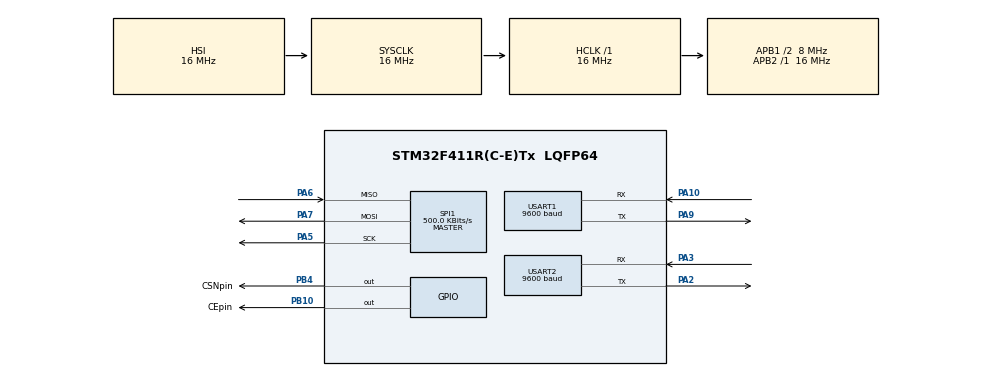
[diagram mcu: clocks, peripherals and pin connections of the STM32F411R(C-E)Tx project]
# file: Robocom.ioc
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FREERTOS.BinarySemaphores01=BinarySem,Dynamic,NULL
FREERTOS.Tasks01=taskUartPc,0,128,StartUartPc,Default,NULL,Dynamic,NULL,NULL
FREERTOS.configUSE_NEWLIB_REENTRANT=1
Mcu.Family=STM32F4
Mcu.Name=STM32F411R(C-E)Tx
Mcu.Package=LQFP64
NVIC.PriorityGroup=NVIC_PRIORITYGROUP_4
NVIC.TIM5_IRQn=true\:15\:0\:false\:false\:true\:false\:false\:true
NVIC.TimeBase=TIM5_IRQn
NVIC.TimeBaseIP=TIM5
NVIC.USART1_IRQn=true\:5\:0\:false\:false\:true\:true\:true\:true
NVIC.USART2_IRQn=true\:5\:0\:false\:false\:true\:true\:true\:true
PA10.Mode=Asynchronous
PA10.Signal=USART1_RX
PA13.Mode=Serial_Wire
PA13.Signal=SYS_JTMS-SWDIO
PA14.Mode=Serial_Wire
PA14.Signal=SYS_JTCK-SWCLK
PA2.Mode=Asynchronous
PA2.Signal=USART2_TX
PA3.Mode=Asynchronous
PA3.Signal=USART2_RX
PA5.Mode=Full_Duplex_Master
PA5.Signal=SPI1_SCK
PA6.Mode=Full_Duplex_Master
PA6.Signal=SPI1_MISO
PA7.Mode=Full_Duplex_Master
PA7.Signal=SPI1_MOSI
PA9.Mode=Asynchronous
PA9.Signal=USART1_TX
PB10.GPIO_Label=CEpin
PB10.Signal=GPIO_Output
PB4.GPIO_Label=CSNpin
PB4.Signal=GPIO_Output
ProjectManager.HeapSize=0x200
ProjectManager.StackSize=0x400
ProjectManager.TargetToolchain=STM32CubeIDE
RCC.48MHZClocksFreq_Value=42000000
RCC.AHBFreq_Value=16000000
RCC.APB1CLKDivider=RCC_HCLK_DIV2
RCC.APB1Freq_Value=8000000
RCC.APB1TimFreq_Value=16000000
RCC.APB2Freq_Value=16000000
RCC.APB2TimFreq_Value=16000000
RCC.CortexFreq_Value=16000000
RCC.HCLKFreq_Value=16000000
RCC.HSE_VALUE=25000000
RCC.HSI_VALUE=16000000
RCC.LSE_VALUE=32768
RCC.PLLM=8
RCC.PLLN=84
RCC.SYSCLKFreq_VALUE=16000000
RCC.VCOOutputFreq_Value=168000000
SPI1.BaudRatePrescaler=SPI_BAUDRATEPRESCALER_32
SPI1.CalculateBaudRate=500.0 KBits/s
SPI1.Direction=SPI_DIRECTION_2LINES
SPI1.Mode=SPI_MODE_MASTER
SPI1.VirtualType=VM_MASTER
USART1.BaudRate=9600
USART1.VirtualMode=VM_ASYNC
USART2.BaudRate=9600
USART2.VirtualMode=VM_ASYNC
VP_CRC_VS_CRC.Mode=CRC_Activate
VP_FREERTOS_VS_CMSIS_V1.Mode=CMSIS_V1
VP_SYS_VS_tim5.Mode=TIM5
board=custom

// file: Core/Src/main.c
/* USER CODE BEGIN Header */
/**
  ******************************************************************************
  * @file           : main.c
  * @brief          : Main program body
  ******************************************************************************
  * @attention
  *
  * <h2><center>&copy; Copyright (c) 2021 STMicroelectronics.
  * All rights reserved.</center></h2>
  *
  * This software component is licensed by ST under BSD 3-Clause license,
  * the "License"; You may not use this file except in compliance with the
  * License. You may obtain a copy of the License at:
  *                        opensource.org/licenses/BSD-3-Clause
  *
  ******************************************************************************
  */
/* USER CODE END Header */
#include "main.h"
#include "cmsis_os.h"

/* USER CODE BEGIN Includes */
#include "UartRingbuffer_multi.h"
#include "event_groups.h"
#include <stdio.h>
#include <string.h>
#include <stdbool.h>
#include "MY_NRF24.h"
#include "tasks_robocom.h"
/* USER CODE END Includes */

/* USER CODE BEGIN PTD */
#define Tx_len_max 32  //taille max de notre buffer de transmission
/* USER CODE END PTD */

CRC_HandleTypeDef hcrc;

SPI_HandleTypeDef hspi1;

UART_HandleTypeDef huart1;
UART_HandleTypeDef huart2;

osThreadId taskUartPcHandle;
osSemaphoreId BinarySemHandle;
/* USER CODE BEGIN PV */
//uint32_t myRxData[34];
uint32_t val_crc1 = 0;

/* USER CODE END PV */

void SystemClock_Config(void);
static void MX_GPIO_Init(void);
static void MX_USART2_UART_Init(void);
static void MX_USART1_UART_Init(void);
static void MX_SPI1_Init(void);
static void MX_CRC_Init(void);

/* USER CODE BEGIN 0 */
void Nrf_rx_init(uint64_t RxpipeAddrs);
void Nrf_tx_init(uint64_t TxpipeAddrs);

void Tx_Adding_CRC(uint8_t *data, uint32_t len);
void extractData(char *b);
uint32_t extractCrc(char *b);

/* Initialize NRF */
void initNRF(void)
{
	NRF24_begin(GPIOB, CSNpin_Pin, CEpin_Pin, hspi1);
	NRF24_disableCRC();
	NRF24_setAutoAck(false);
	NRF24_setChannel(52);
	NRF24_setPayloadSize(32);
	//nrf24_DebugUART_Init(huart2);
	//printRadioSettings();
}

/* Add CRC at the CRC */
void Tx_Adding_CRC(uint8_t *data, uint32_t len)
{
	uint32_t Tx_crc;
	uint8_t crcData[4] = {'\0'};
	Tx_crc  = HAL_CRC_Calculate(&hcrc,data, len);
	crcData[0] = (Tx_crc & 0xFF000000)>>24; // on décompose le nombre en 4 pour le placer dans la trame
	crcData[1] = (Tx_crc & 0x00FF0000)>>16;
	crcData[2] = (Tx_crc & 0x0000FF00)>>8;
	crcData[3] = (Tx_crc & 0x000000FF);

	data[len] = '|';
	for (uint32_t n = 0;n<4; n++)
	{
		data[len+1 + n ] = crcData[n];
	}
}

/* Extract CRC in the frame */
uint32_t extractCrc(char *b)
{
	char delim[1] = "|";
	char *ptr = strtok(b, delim);
	ptr = strtok(NULL, delim);
	return strtoul(ptr,NULL,10);
}

/* Extract frame in the frame */
void extractData(char *b)
{
	char delim[1] = "|";
	strtok(b, delim);
}

/* USER CODE END 0 */

int main(void)
{
  /* USER CODE BEGIN 1 */
	char buf[32];
  /* USER CODE END 1 */

  /* MCU Configuration--------------------------------------------------------*/

  /* Reset of all peripherals, Initializes the Flash interface and the Systick. */
  HAL_Init();

  /* Configure the system clock */
  SystemClock_Config();

  /* Initialize all configured peripherals */
  MX_GPIO_Init();
  MX_USART2_UART_Init();
  MX_USART1_UART_Init();
  MX_SPI1_Init();
  MX_CRC_Init();
  /* USER CODE BEGIN 2 */

  simpleQueue = xQueueCreate(32,sizeof(buf));
  simpleQueue2 = xQueueCreate(32,sizeof(buf));
  simpleQueue3 = xQueueCreate(32,sizeof(buf));
  simpleQueue4 = xQueueCreate(32,sizeof(buf));

  initNRF();
  // 1
  if (simpleQueue == 0)  // Queue not created
    {
  	  char *str = "Unable to create Integer Queue 1\n\n";
  	  HAL_UART_Transmit(&huart2, (uint8_t *)str, strlen (str), HAL_MAX_DELAY);
    }
    else
    {
  	  char *str = "Integer Queue 1 Created successfully\n\n";
  	  HAL_UART_Transmit(&huart2, (uint8_t *)str, strlen (str), HAL_MAX_DELAY);
    }

  // 2
  if (simpleQueue2 == 0)  // Queue not created
    {
  	  char *str = "Unable to create Integer Queue 2\n\n";
  	  HAL_UART_Transmit(&huart2, (uint8_t *)str, strlen (str), HAL_MAX_DELAY);
    }
    else
    {
  	  char *str = "Integer Queue 2 Created successfully\n\n";
  	  HAL_UART_Transmit(&huart2, (uint8_t *)str, strlen (str), HAL_MAX_DELAY);
    }

  // 3
  if (simpleQueue3 == 0)  // Queue not created
      {
    	  char *str = "Unable to create Integer Queue 3\n\n";
    	  HAL_UART_Transmit(&huart2, (uint8_t *)str, strlen (str), HAL_MAX_DELAY);
      }
      else
      {
    	  char *str = "Integer Queue 3 Created successfully\n\n";
    	  HAL_UART_Transmit(&huart2, (uint8_t *)str, strlen (str), HAL_MAX_DELAY);
      }

  // 4
  if (simpleQueue4 == 0)  // Queue not created
      {
    	  char *str = "Unable to create Integer Queue 4\n\n";
    	  HAL_UART_Transmit(&huart2, (uint8_t *)str, strlen (str), HAL_MAX_DELAY);
      }
      else
      {
    	  char *str = "Integer Queue 4 Created successfully\n\n";
    	  HAL_UART_Transmit(&huart2, (uint8_t *)str, strlen (str), HAL_MAX_DELAY);
      }

  xTaskCreate(taskUartPc, "task1", 128, NULL, 3,&SendertaskHC12_handler);
  xTaskCreate(taskUartHc12, "task2", 128, NULL, 3,&ReceivertaskHC12_handler);

  xTaskCreate(taskNrfTx, "task3", 128, NULL, 3,&SendertaskNRF_handler);
  xTaskCreate(taskNrfRx, "task4", 128, NULL, 3,&ReceivertaskNRF_handler);

  xMutex = xSemaphoreCreateMutex();
  Ringbuf_init();
  vTaskStartScheduler();

  /* USER CODE END 2 */

  //osSemaphoreDef(BinarySem);
  //BinarySemHandle = osSemaphoreCreate(osSemaphore(BinarySem), 1);

  /* We should never get here as control is now taken by the scheduler */
  /* Infinite loop */
  while (1)
  {

  }
}

void SystemClock_Config(void)
{
  RCC_OscInitTypeDef RCC_OscInitStruct = {0};
  RCC_ClkInitTypeDef RCC_ClkInitStruct = {0};

  /** Configure the main internal regulator output voltage
  */
  __HAL_RCC_PWR_CLK_ENABLE();
  __HAL_PWR_VOLTAGESCALING_CONFIG(PWR_REGULATOR_VOLTAGE_SCALE1);
  /** Initializes the RCC Oscillators according to the specified parameters
  * in the RCC_OscInitTypeDef structure.
  */
  RCC_OscInitStruct.OscillatorType = RCC_OSCILLATORTYPE_HSI;
  RCC_OscInitStruct.HSIState = RCC_HSI_ON;
  RCC_OscInitStruct.HSICalibrationValue = RCC_HSICALIBRATION_DEFAULT;
  RCC_OscInitStruct.PLL.PLLState = RCC_PLL_NONE;
  if (HAL_RCC_OscConfig(&RCC_OscInitStruct) != HAL_OK)
  {
    Error_Handler();
  }
  /** Initializes the CPU, AHB and APB buses clocks
  */
  RCC_ClkInitStruct.ClockType = RCC_CLOCKTYPE_HCLK|RCC_CLOCKTYPE_SYSCLK
                              |RCC_CLOCKTYPE_PCLK1|RCC_CLOCKTYPE_PCLK2;
  RCC_ClkInitStruct.SYSCLKSource = RCC_SYSCLKSOURCE_HSI;
  RCC_ClkInitStruct.AHBCLKDivider = RCC_SYSCLK_DIV1;
  RCC_ClkInitStruct.APB1CLKDivider = RCC_HCLK_DIV2;
  RCC_ClkInitStruct.APB2CLKDivider = RCC_HCLK_DIV1;

  if (HAL_RCC_ClockConfig(&RCC_ClkInitStruct, FLASH_LATENCY_0) != HAL_OK)
  {
    Error_Handler();
  }
}

static void MX_CRC_Init(void)
{

  hcrc.Instance = CRC;
  if (HAL_CRC_Init(&hcrc) != HAL_OK)
  {
    Error_Handler();
  }

}

static void MX_SPI1_Init(void)
{

  /* SPI1 parameter configuration*/
  hspi1.Instance = SPI1;
  hspi1.Init.Mode = SPI_MODE_MASTER;
  hspi1.Init.Direction = SPI_DIRECTION_2LINES;
  hspi1.Init.DataSize = SPI_DATASIZE_8BIT;
  hspi1.Init.CLKPolarity = SPI_POLARITY_LOW;
  hspi1.Init.CLKPhase = SPI_PHASE_1EDGE;
  hspi1.Init.NSS = SPI_NSS_SOFT;
  hspi1.Init.BaudRatePrescaler = SPI_BAUDRATEPRESCALER_32;
  hspi1.Init.FirstBit = SPI_FIRSTBIT_MSB;
  hspi1.Init.TIMode = SPI_TIMODE_DISABLE;
  hspi1.Init.CRCCalculation = SPI_CRCCALCULATION_DISABLE;
  hspi1.Init.CRCPolynomial = 10;
  if (HAL_SPI_Init(&hspi1) != HAL_OK)
  {
    Error_Handler();
  }

}

static void MX_USART1_UART_Init(void)
{

  huart1.Instance = USART1;
  huart1.Init.BaudRate = 9600;
  huart1.Init.WordLength = UART_WORDLENGTH_8B;
  huart1.Init.StopBits = UART_STOPBITS_1;
  huart1.Init.Parity = UART_PARITY_NONE;
  huart1.Init.Mode = UART_MODE_TX_RX;
  huart1.Init.HwFlowCtl = UART_HWCONTROL_NONE;
  huart1.Init.OverSampling = UART_OVERSAMPLING_16;
  if (HAL_UART_Init(&huart1) != HAL_OK)
  {
    Error_Handler();
  }

}

static void MX_USART2_UART_Init(void)
{

  huart2.Instance = USART2;
  huart2.Init.BaudRate = 9600;
  huart2.Init.WordLength = UART_WORDLENGTH_8B;
  huart2.Init.StopBits = UART_STOPBITS_1;
  huart2.Init.Parity = UART_PARITY_NONE;
  huart2.Init.Mode = UART_MODE_TX_RX;
  huart2.Init.HwFlowCtl = UART_HWCONTROL_NONE;
  huart2.Init.OverSampling = UART_OVERSAMPLING_16;
  if (HAL_UART_Init(&huart2) != HAL_OK)
  {
    Error_Handler();
  }

}

static void MX_GPIO_Init(void)
{
  GPIO_InitTypeDef GPIO_InitStruct = {0};

  /* GPIO Ports Clock Enable */
  __HAL_RCC_GPIOA_CLK_ENABLE();
  __HAL_RCC_GPIOB_CLK_ENABLE();

  /*Configure GPIO pin Output Level */
  HAL_GPIO_WritePin(GPIOB, CEpin_Pin|CSNpin_Pin, GPIO_PIN_RESET);

  /*Configure GPIO pins : CEpin_Pin CSNpin_Pin */
  GPIO_InitStruct.Pin = CEpin_Pin|CSNpin_Pin;
  GPIO_InitStruct.Mode = GPIO_MODE_OUTPUT_PP;
  GPIO_InitStruct.Pull = GPIO_NOPULL;
  GPIO_InitStruct.Speed = GPIO_SPEED_FREQ_LOW;
  HAL_GPIO_Init(GPIOB, &GPIO_InitStruct);

}

void HAL_TIM_PeriodElapsedCallback(TIM_HandleTypeDef *htim)
{
  if (htim->Instance == TIM5) {
    HAL_IncTick();
  }
}

void Error_Handler(void)
{
  __disable_irq();
  while (1)
  {
  }
}

/************************ (C) COPYRIGHT STMicroelectronics *****END OF FILE****/
